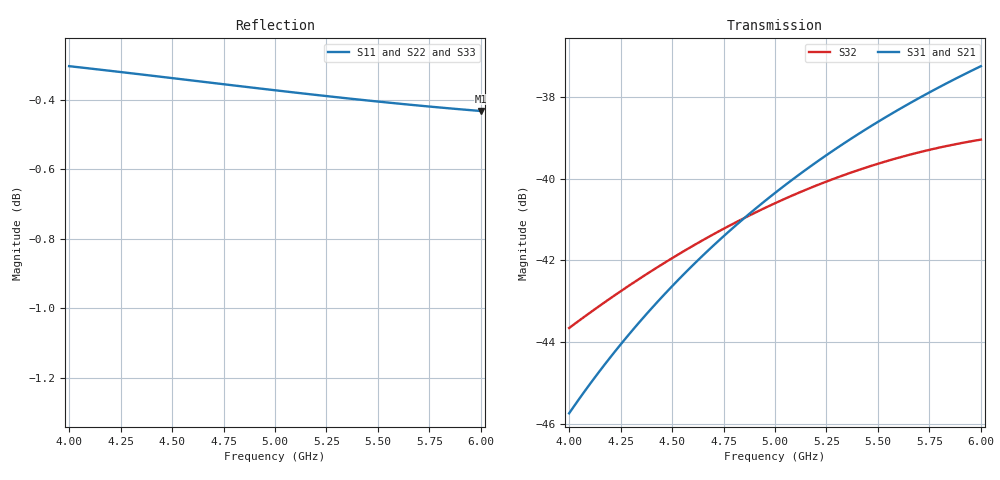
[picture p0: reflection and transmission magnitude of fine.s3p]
! yapnr rf: divider-osh-w-sched, footprint re-simulated (refine 2)
! spec sha256 a695714fe4669d91357af09eb6c71142ba3a268c85e6750933766b3682f3e517
! 3 ports renormalized to 50 ohm, e^(+jwt) convention
# GHz S RI R 50
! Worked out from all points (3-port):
!   81 points, 4 GHz to 6 GHz, reference 50 ohm
!   strongest paths, dB at 4 GHz, 4.5 GHz, 5 GHz, 5.5 GHz, 6 GHz:
!     S31: -45.7, -42.6, -40.4, -38.6, -37.3
!     S21: -45.7, -42.6, -40.4, -38.6, -37.3
!     S32: -43.7, -41.9, -40.6, -39.6, -39.0
!   lowest |S11| = -0.4 dB at 6 GHz (marker M1), VSWR 40.26, Z = 1.32 - j12.2 ohm
!   |S11| at or under -10 dB: nowhere
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4  -0.22 -0.9404  -0.00379 0.00265  -0.00379 0.00265
   -0.00436 0.00277  -0.4623 -0.8477  -0.00438 -0.00489
   -0.00436 0.00277  -0.00438 -0.00489  -0.4623 -0.8477
4.1  -0.2603 -0.9293  -0.00399 0.00309  -0.00399 0.00309
     -0.00459 0.00321  -0.4996 -0.8256  -0.00507 -0.00461
     -0.00459 0.00321  -0.00507 -0.00461  -0.4996 -0.8256
4.225  -0.3099 -0.9129  -0.0042 0.00368  -0.0042 0.00368
       -0.00484 0.00381  -0.5443 -0.7959  -0.0059 -0.00415
       -0.00484 0.00381  -0.0059 -0.00415  -0.5443 -0.7959
4.45  -0.3963 -0.877  -0.0044 0.00484  -0.0044 0.00484
      -0.00512 0.005  -0.6196 -0.737  -0.00725 -0.00301
      -0.00512 0.005  -0.00725 -0.00301  -0.6196 -0.737
4.725  -0.4961 -0.8221  -0.00433 0.00638  -0.00433 0.00638
       -0.00516 0.00661  -0.7021 -0.6564  -0.00854 -0.00114
       -0.00516 0.00661  -0.00854 -0.00114  -0.7021 -0.6564
5  -0.5885 -0.7561  -0.00386 0.00797  -0.00386 0.00797
   -0.00479 0.00832  -0.7735 -0.5676  -0.00926 0.0011
   -0.00479 0.00832  -0.00926 0.0011  -0.7735 -0.5676
5.25  -0.665 -0.6871  -0.00307 0.00936  -0.00307 0.00936
      -0.00407 0.00988  -0.8284 -0.4811  -0.00936 0.00329
      -0.00407 0.00988  -0.00936 0.00329  -0.8284 -0.4811
5.5  -0.7337 -0.6106  -0.00195 0.0106  -0.00195 0.0106
     -0.00297 0.0113  -0.8735 -0.3898  -0.0089 0.00544
     -0.00297 0.0113  -0.0089 0.00544  -0.8735 -0.3898
5.75  -0.7938 -0.5272  -0.00052 0.0117  -0.00052 0.0117
      -0.00149 0.0127  -0.9086 -0.2948  -0.00793 0.0074
      -0.00149 0.0127  -0.00793 0.0074  -0.9086 -0.2948
6  -0.8448 -0.4378  0.00118 0.0126  0.00118 0.0126
   0.000334 0.0137  -0.9335 -0.197  -0.00656 0.00903
   0.000334 0.0137  -0.00656 0.00903  -0.9335 -0.197
